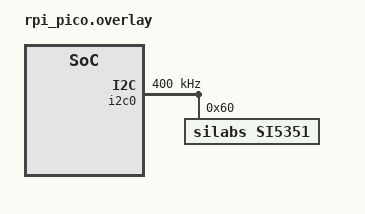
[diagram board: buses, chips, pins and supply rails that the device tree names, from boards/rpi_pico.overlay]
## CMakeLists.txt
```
cmake_minimum_required(VERSION 3.20.0)

if(NOT cdc-acm-console IN_LIST SNIPPET)
  set(SNIPPET cdc-acm-console ${SNIPPET} CACHE STRING "" FORCE)
endif()

find_package(Zephyr REQUIRED HINTS $ENV{ZEPHYR_BASE})

project(app LANGUAGES C)
target_sources(app PRIVATE src/main.c)
```

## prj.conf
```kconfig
# Enable Si5351 driver
CONFIG_SI5351=y

# Enable logging
CONFIG_LOG=y
CONFIG_LOG_MODE_MINIMAL=y

# Setup USB for Console
CONFIG_USB_DEVICE_STACK=y
CONFIG_USB_DEVICE_PRODUCT="RPi Pico USB Serial Console"
CONFIG_USB_DEVICE_VID=0001
CONFIG_CONSOLE=y
CONFIG_UART_CONSOLE=y
CONFIG_UART_LINE_CTRL=y
```

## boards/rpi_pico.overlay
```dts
#include <dt-bindings/si5351.h>

&i2c0 {
        status = "okay";
        pinctrl-0 = <&i2c0_default>;
        pinctrl-names = "default";
        clock-frequency = <I2C_BITRATE_FAST>;
        si5351@60 {
                compatible = "silabs,si5351";
                reg = <0x60>;

                /* Setup PLLA to integer only mode */
                /* 25MHz * 36 = 900 MHz, then 900 MHz / 8 = 112.5 MHz */
                pll-a-mult = <36>;
                output-0-pll = <SI5351_PLL_A>;
                output-0-div = <8>;

                /* Setup PLLB to fractional mode @616.66667MHz (XTAL * 24 + 2/3) */
                pll-b-mult = <24>;
                pll-b-num = <2>;
                pll-b-denom = <3>;

                /* Setup Multisynth 1 to 13.55311MHz (PLLB/45.5) */
                output-1-pll = <SI5351_PLL_B>;
                output-1-div = <45>;
                output-1-num = <1>;
                output-1-denom = <2>;

                /* Setup Multisynth 2 to 10.706 KHz (PLLB/900) */
                output-2-pll = <SI5351_PLL_B>;
                output-2-div = <900>;
                output-2-num = <0>;
                output-2-denom = <1>;
                output-2-rdiv = <SI5351_R_DIV_64>;

                enable-outputs;
        };
};

&pinctrl {
    i2c0_default: i2c0_default {
        group1 {
            pinmux = <I2C0_SDA_P4>, <I2C0_SCL_P5>;
            input-enable;
            input-schmitt-enable;
        };
    };
};
```

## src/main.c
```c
#include <zephyr/usb/usb_device.h>
#include <zephyr/drivers/uart.h>
#include <zephyr/kernel.h>

#include <drivers/si5351.h>

// The SI5351 is already configured in the DTS overlay,
// but the application could (re)configure if needed.
//#define CONFIGURE_SI5351_IN_APP


static const struct device *si5351 = DEVICE_DT_GET_ANY(silabs_si5351);

int main(void)
{
	int err   = 0;

	/* Configure to set Console output to USB Serial */
	const struct device *usb_device = DEVICE_DT_GET(DT_CHOSEN(zephyr_console));

	if (usb_enable(NULL) != 0) {
		return 0;
	}

	/* Wait for USB connected */
	uint32_t dtr = 0;
	while (!dtr) {
		uart_line_ctrl_get(usb_device, UART_LINE_CTRL_DTR, &dtr);
		k_sleep(K_MSEC(100));
	}

	if (!device_is_ready(si5351)) {
		printk("Error: Si5351 is not available.\r\n");
		return 1;
	}

#ifdef CONFIGURE_SI5351_IN_APP
	/* Initialise the sensor */
	err = si5351_begin(si5351);
	if (err < 0) {
		printk("Error %d: failed to begin.\n", err);
		return 1;
	}

	/* INTEGER ONLY MODE --> most accurate output */
	/* Setup PLLA to integer only mode @ 900MHz (must be 600..900MHz) */
	/* Set Multisynth 0 to 112.5MHz using integer only mode (div by 4/6/8) */
	/* 25MHz * 36 = 900 MHz, then 900 MHz / 8 = 112.5 MHz */
	printk("Set PLLA to 900MHz\n");
	err = si5351_setup_pll_int(si5351, SI5351_PLL_A, 36);
	if (err < 0) {
		printk("Error %d: failed to setup PLL A.\n", err);
		return 1;
	}

	printk("Set Output #0 to 112.5MHz\n");
	err = si5351_setup_multisynth_int(si5351, SI5351_OUTPUT_0, SI5351_PLL_A, SI5351_MULTISYNTH_DIV_8);
	if (err < 0) {
		printk("Error %d: failed to setup multisynth #0.\n", err);
		return 1;
	}

	/* FRACTIONAL MODE --> More flexible but introduce clock jitter */
	/* Setup PLLB to fractional mode @616.66667MHz (XTAL * 24 + 2/3) */
	/* Setup Multisynth 1 to 13.55311MHz (PLLB/45.5) */
	err = si5351_setup_pll(si5351, SI5351_PLL_B, 24, 2, 3);
	if (err < 0) {
		printk("Error %d: failed to setup PLL B.\n", err);
		return 1;
	}

	printk("Set Output #1 to 13.553115MHz\n");
	err = si5351_setup_multisynth(si5351, SI5351_OUTPUT_1, SI5351_PLL_B, 45, 1, 2);
	if (err < 0) {
		printk("Error %d: failed to setup multisynth #1.\n", err);
		return 1;
	}

	/* Multisynth 2 is not yet used and won't be enabled, but can be */
	/* Use PLLB @ 616.66667MHz, then divide by 900 -> 685.185 KHz */
	/* then divide by 64 for 10.706 KHz */
	/* configured using either PLL in either integer or fractional mode */
	printk("Set Output #2 to 10.706 KHz\n");
	err = si5351_setup_multisynth(si5351, SI5351_OUTPUT_2, SI5351_PLL_B, 900, 0, 1);
	if (err < 0) {
		printk("Error %d: failed to setup multisynth #2.\n", err);
		return 1;
	}

	err = si5351_setup_rdiv(si5351, SI5351_OUTPUT_2, SI5351_R_DIV_64);
	if (err < 0) {
		printk("Error %d: failed to setup rdiv.\n", err);
		return 1;
	}

	/* Enable the clocks */
	err = si5351_enable_outputs(si5351, true);
	if (err < 0) {
		printk("Error %d: failed to enable outputs.\n", err);
		return 1;
	}

	k_sleep(K_MSEC(100));
#endif

	uint8_t status = 0;
	err = si5351_get_status(si5351, &status);
	if (err < 0) {
		printk("Error %d: failed to get status.\n", err);
		return 1;
	}
	else {
		printk("Si5351 status: 0x%02x\n", status);
	}

	while (1) {}
}
```
